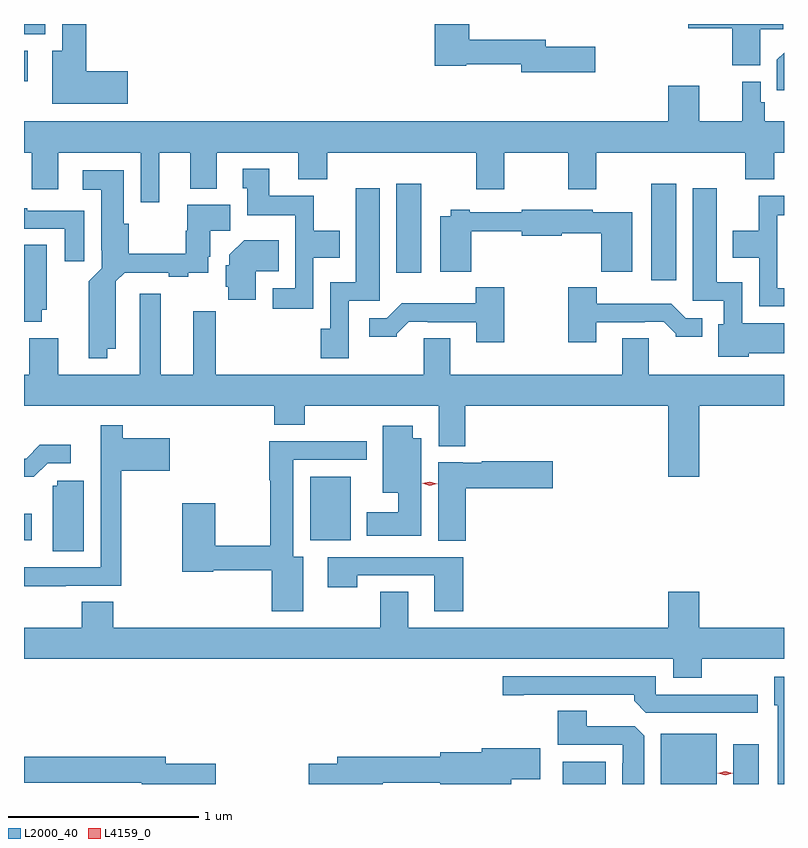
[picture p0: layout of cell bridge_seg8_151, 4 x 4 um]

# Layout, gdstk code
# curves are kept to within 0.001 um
import gdstk
lib = gdstk.Library(unit=1e-6, precision=1e-09)
def R(c, l, rs):  # rectangles x0, y0, x1, y1
    for r in rs: c.add(gdstk.rectangle(r[:2], r[2:], *l))
def P(c, l, *ps):  # polygons
    for p in ps: c.add(gdstk.Polygon(p, *l))
L2000_40 = (2000, 40)
L4159_0 = (4159, 0)

bridge_seg8_151 = lib.new_cell('bridge_seg8_151')
R(bridge_seg8_151, L2000_40, [(512.105,1149.141,512.332,1149.259), (512.621,1149.141,512.914,1149.406), (513.002,1149.141,513.136,1149.349), (509.269,1150.424,509.311,1150.564), (510.776,1150.424,510.988,1150.759), (512.57,1151.793,512.701,1152.301), (511.229,1151.832,511.36,1152.301), (509.269,1152.84,509.29,1152.999), (509.269,1153.088,509.38,1153.141)])
P(bridge_seg8_151, L2000_40, [(509.815,1152.893),(509.597,1152.893),(509.597,1153.141),(509.471,1153.141),(509.471,1153),(509.417,1153),(509.417,1152.722),(509.815,1152.722)],
  [(513.145,1153.114),(513.266,1153.114),(513.266,1153.141),(512.766,1153.141),(512.766,1153.118),(512.996,1153.118),(512.996,1152.923),(513.145,1152.923)],
  [(512.275,1153.022),(512.014,1153.022),(512.014,1153.058),(511.613,1153.058),(511.613,1153.141),(511.43,1153.141),(511.43,1152.922),(511.596,1152.922),(511.596,1152.93),(511.886,1152.93),(511.886,1152.887),(512.275,1152.887)],
  [(513.269,1152.991),(513.232,1152.954),(513.232,1152.792),(513.269,1152.792)],
  [(509.98,1152.464),(510.143,1152.464),(510.143,1152.275),(510.283,1152.275),(510.283,1152.464),(510.713,1152.464),(510.713,1152.323),(510.866,1152.323),(510.866,1152.464),(511.649,1152.464),(511.649,1152.27),(511.797,1152.27),(511.797,1152.464),(512.134,1152.464),(512.134,1152.27),(512.281,1152.27),(512.281,1152.464),(513.065,1152.464),(513.065,1152.323),(513.217,1152.323),(513.217,1152.464),(513.269,1152.464),(513.269,1152.628),(513.167,1152.628),(513.167,1152.729),(513.147,1152.729),(513.147,1152.838),(513.049,1152.838),(513.049,1152.628),(512.824,1152.628),(512.824,1152.817),(512.66,1152.817),(512.66,1152.628),(509.269,1152.628),(509.269,1152.464),(509.309,1152.464),(509.309,1152.27),(509.449,1152.27),(509.449,1152.464),(509.883,1152.464),(509.883,1152.204),(509.98,1152.204)],
  [(510.792,1151.912),(510.931,1151.912),(510.931,1152.052),(510.795,1152.052),(510.795,1152.238),(510.559,1152.238),(510.559,1152.379),(510.419,1152.379),(510.419,1152.276),(510.443,1152.276),(510.443,1152.134),(510.696,1152.134),(510.696,1151.751),(510.579,1151.751),(510.579,1151.643),(510.792,1151.643)],
  [(509.707,1151.432),(509.752,1151.432),(509.753,1151.786),(509.799,1151.832),(510.032,1151.832),(510.032,1151.812),(510.134,1151.812),(510.134,1151.831),(510.238,1151.831),(510.238,1151.916),(510.25,1151.916),(510.25,1152.052),(510.355,1152.052),(510.355,1152.19),(510.128,1152.19),(510.128,1152.054),(510.121,1152.054),(510.121,1151.933),(509.82,1151.933),(509.82,1152.09),(509.794,1152.09),(509.794,1152.37),(509.577,1152.37),(509.577,1152.269),(509.675,1152.269),(509.675,1151.95),(509.679,1151.95),(509.679,1151.856),(509.609,1151.786),(509.61,1151.381),(509.707,1151.381)],
  [(510.978,1151.685),(511.141,1151.685),(511.141,1152.277),(511.016,1152.277),(511.016,1151.782),(510.882,1151.782),(510.882,1151.538),(510.83,1151.538),(510.83,1151.382),(510.978,1151.382)],
  [(513.084,1151.408),(513.269,1151.408),(513.269,1151.566),(513.048,1151.566),(513.048,1151.782),(512.914,1151.782),(512.914,1152.277),(512.789,1152.277),(512.789,1151.685),(512.952,1151.685),(512.952,1151.562),(512.924,1151.562),(512.924,1151.39),(513.084,1151.39)],
  [(513.269,1151.751),(513.234,1151.751),(513.234,1152.134),(513.269,1152.134),(513.269,1152.238),(513.136,1152.238),(513.136,1152.052),(512.999,1152.052),(512.999,1151.912),(513.138,1151.912),(513.138,1151.655),(513.269,1151.655)],
  [(509.587,1152.159),(509.287,1152.159),(509.287,1152.172),(509.269,1152.172),(509.269,1152.063),(509.483,1152.063),(509.483,1151.892),(509.587,1151.892)],
  [(511.622,1152.049),(511.89,1152.049),(511.89,1152.026),(512.1,1152.026),(512.1,1152.041),(512.308,1152.041),(512.308,1151.837),(512.47,1151.837),(512.47,1152.151),(512.262,1152.151),(512.262,1152.163),(511.89,1152.163),(511.89,1152.15),(511.615,1152.15),(511.615,1152.163),(511.515,1152.163),(511.515,1152.13),(511.46,1152.13),(511.46,1151.837),(511.622,1151.837)],
  [(510.49,1151.84),(510.611,1151.84),(510.611,1152.004),(510.428,1152.004),(510.35,1151.926),(510.35,1151.871),(510.332,1151.871),(510.332,1151.757),(510.343,1151.757),(510.343,1151.69),(510.49,1151.69)],
  [(509.362,1151.637),(509.389,1151.637),(509.389,1151.978),(509.269,1151.978),(509.269,1151.573),(509.362,1151.573)],
  [(511.797,1151.755),(511.647,1151.755),(511.647,1151.671),(511.258,1151.671),(511.179,1151.592),(511.086,1151.592),(511.086,1151.495),(511.23,1151.495),(511.23,1151.51),(511.294,1151.574),(511.393,1151.574),(511.393,1151.571),(511.649,1151.571),(511.649,1151.466),(511.797,1151.466)],
  [(512.281,1151.571),(512.537,1151.571),(512.537,1151.574),(512.636,1151.574),(512.7,1151.51),(512.7,1151.495),(512.839,1151.495),(512.839,1151.592),(512.751,1151.592),(512.675,1151.668),(512.284,1151.668),(512.284,1151.755),(512.134,1151.755),(512.134,1151.466),(512.281,1151.466)],
  [(511.451,1150.919),(511.592,1150.919),(511.592,1151.132),(512.66,1151.132),(512.66,1150.758),(512.824,1150.758),(512.824,1151.132),(513.269,1151.132),(513.269,1151.296),(512.557,1151.296),(512.557,1151.486),(512.417,1151.486),(512.417,1151.296),(511.513,1151.296),(511.513,1151.486),(511.373,1151.486),(511.373,1151.296),(510.278,1151.296),(510.278,1151.629),(510.161,1151.629),(510.161,1151.296),(509.989,1151.296),(509.989,1151.722),(509.879,1151.722),(509.879,1151.296),(509.449,1151.296),(509.449,1151.488),(509.297,1151.488),(509.297,1151.296),(509.269,1151.296),(509.269,1151.132),(510.587,1151.132),(510.587,1151.033),(510.747,1151.033),(510.747,1151.132),(511.451,1151.132)],
  [(509.489,1150.185),(509.782,1150.185),(509.782,1150.79),(510.037,1150.79),(510.037,1150.96),(509.789,1150.96),(509.789,1151.029),(509.672,1151.029),(509.672,1150.806),(509.673,1150.806),(509.673,1150.281),(509.269,1150.281),(509.269,1150.183),(509.489,1150.183)],
  [(511.36,1150.96),(511.315,1150.96),(511.315,1151.026),(511.157,1151.026),(511.157,1150.673),(511.238,1150.673),(511.238,1150.57),(511.073,1150.57),(511.073,1150.448),(511.36,1150.448)],
  [(510.739,1150.336),(510.685,1150.336),(510.685,1150.848),(511.072,1150.848),(511.072,1150.946),(510.56,1150.946),(510.56,1150.741),(510.565,1150.741),(510.565,1150.394),(510.276,1150.394),(510.276,1150.618),(510.103,1150.618),(510.103,1150.258),(510.264,1150.258),(510.264,1150.266),(510.572,1150.266),(510.572,1150.05),(510.739,1150.05)],
  [(509.394,1150.83),(509.515,1150.83),(509.515,1150.927),(509.353,1150.927),(509.28,1150.854),(509.269,1150.854),(509.269,1150.757),(509.321,1150.757)],
  [(511.595,1150.697),(512.053,1150.697),(512.053,1150.839),(511.678,1150.839),(511.678,1150.831),(511.578,1150.831),(511.578,1150.834),(511.448,1150.834),(511.448,1150.42),(511.595,1150.42)],
  [(509.584,1150.737),(509.445,1150.737),(509.445,1150.71),(509.42,1150.71),(509.42,1150.366),(509.584,1150.366)],
  [(511.58,1150.335),(510.867,1150.335),(510.867,1150.176),(511.023,1150.176),(511.023,1150.239),(511.427,1150.239),(511.427,1150.05),(511.58,1150.05)],
  [(512.835,1149.8),(513.269,1149.8),(513.269,1149.964),(512.824,1149.964),(512.824,1150.153),(512.66,1150.153),(512.66,1149.964),(511.291,1149.964),(511.291,1150.154),(511.144,1150.154),(511.144,1149.964),(509.738,1149.964),(509.738,1150.1),(509.573,1150.1),(509.573,1149.964),(509.269,1149.964),(509.269,1149.8),(512.687,1149.8),(512.687,1149.701),(512.835,1149.701)],
  [(513.13,1149.612),(512.595,1149.612),(512.595,1149.708),(511.788,1149.708),(511.788,1149.607),(511.9,1149.607),(511.9,1149.612),(512.48,1149.612),(512.48,1149.578),(512.541,1149.516),(513.13,1149.516)],
  [(513.269,1149.706),(513.218,1149.706),(513.218,1149.555),(513.236,1149.555),(513.236,1149.141),(513.269,1149.141)],
  [(512.533,1149.395),(512.484,1149.444),(512.23,1149.444),(512.23,1149.527),(512.078,1149.527),(512.078,1149.348),(512.421,1149.348),(512.421,1149.251),(512.417,1149.251),(512.417,1149.141),(512.533,1149.141)],
  [(511.156,1149.148),(511.46,1149.148),(511.46,1149.141),(511.834,1149.141),(511.834,1149.166),(511.987,1149.166),(511.987,1149.328),(511.679,1149.328),(511.679,1149.308),(511.46,1149.308),(511.46,1149.284),(510.917,1149.284),(510.917,1149.248),(510.768,1149.248),(510.768,1149.141),(511.156,1149.141)],
  [(510.277,1149.248),(510.016,1149.248),(510.016,1149.284),(509.269,1149.284),(509.269,1149.148),(509.888,1149.148),(509.888,1149.141),(510.277,1149.141)])
P(bridge_seg8_151, L4159_0, [(512.96,1149.188),(512.921,1149.197),(512.921,1149.197),(512.921,1149.198),(512.96,1149.207),(513,1149.198),(513,1149.198),(513,1149.197)],
  [(511.404,1150.712),(511.364,1150.723),(511.364,1150.723),(511.364,1150.723),(511.404,1150.732),(511.444,1150.722),(511.444,1150.722),(511.444,1150.722)])

lib.write_gds('bridge_seg8_151.gds')
